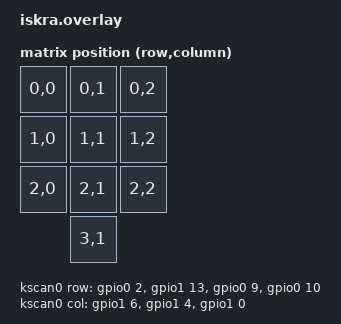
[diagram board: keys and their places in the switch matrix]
#include <dt-bindings/zmk/matrix_transform.h>

/ {
    chosen {
        zmk,kscan = &kscan0;
        zmk,matrix_transform = &iskra_transform;
    };

    iskra_transform: iskra_transform {
        compatible = "zmk,matrix-transform";
        columns = <3>;
        rows = <4>;
        map = <
            RC(0,0) RC(0,1) RC(0,2)
            RC(1,0) RC(1,1) RC(1,2)
            RC(2,0) RC(2,1) RC(2,2)
                    RC(3,1)
        >;
    };
};

&pro_micro {
    kscan0: kscan {
        compatible = "zmk,kscan-gpio-matrix";
        diode-direction = "row2col"; // If keys don't work, try "col2row"

        row-gpios
            = <&gpio0 2  (GPIO_ACTIVE_LOW | GPIO_PULL_UP)> // 002
            , <&gpio1 13 (GPIO_ACTIVE_LOW | GPIO_PULL_UP)> // 113
            , <&gpio0 9  (GPIO_ACTIVE_LOW | GPIO_PULL_UP)> // 009
            , <&gpio0 10 (GPIO_ACTIVE_LOW | GPIO_PULL_UP)> // 010
            ;

        col-gpios
            = <&gpio1 6 GPIO_ACTIVE_LOW> // 106
            , <&gpio1 4 GPIO_ACTIVE_LOW> // 104
            , <&gpio1 0 GPIO_ACTIVE_LOW> // 100
            ;
    };
};
